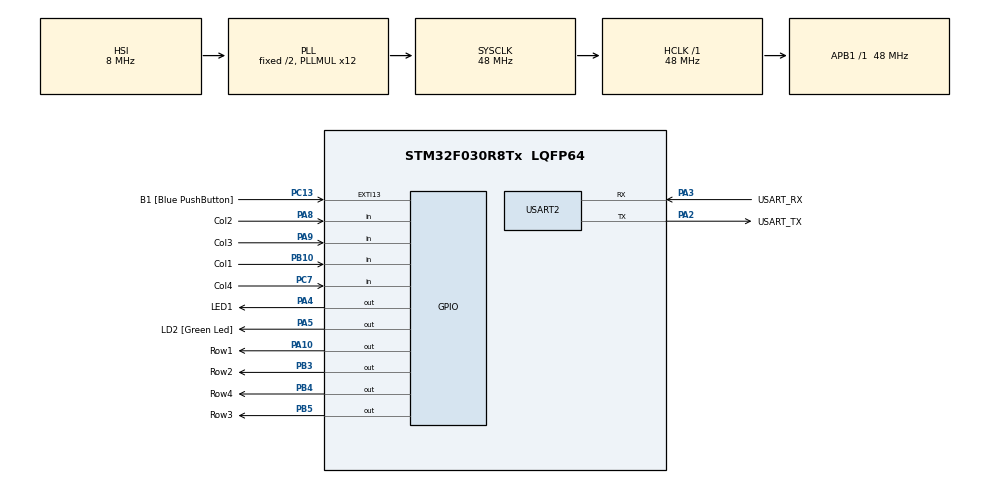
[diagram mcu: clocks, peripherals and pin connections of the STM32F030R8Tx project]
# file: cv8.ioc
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Mcu.Family=STM32F0
Mcu.Name=STM32F030R8Tx
Mcu.Package=LQFP64
NVIC.TIM3_IRQn=true\:0\:0\:false\:false\:true\:true\:true
PA10.GPIO_Label=Row1
PA10.GPIO_ModeDefaultOutputPP=GPIO_MODE_OUTPUT_OD
PA10.Signal=GPIO_Output
PA13.GPIO_Label=TMS
PA13.Mode=Serial_Wire
PA13.Signal=SYS_SWDIO
PA14.GPIO_Label=TCK
PA14.Mode=Serial_Wire
PA14.Signal=SYS_SWCLK
PA2.GPIO_Label=USART_TX
PA2.GPIO_Mode=GPIO_MODE_AF_PP
PA2.GPIO_PuPd=GPIO_NOPULL
PA2.GPIO_Speed=GPIO_SPEED_FREQ_LOW
PA2.Mode=Asynchronous
PA2.Signal=USART2_TX
PA3.GPIO_Label=USART_RX
PA3.GPIO_Mode=GPIO_MODE_AF_PP
PA3.GPIO_PuPd=GPIO_NOPULL
PA3.GPIO_Speed=GPIO_SPEED_FREQ_LOW
PA3.Mode=Asynchronous
PA3.Signal=USART2_RX
PA4.GPIO_Label=LED1
PA4.Signal=GPIO_Output
PA5.GPIO_Label=LD2 [Green Led]
PA5.GPIO_Mode=GPIO_MODE_OUTPUT_PP
PA5.GPIO_PuPd=GPIO_NOPULL
PA5.GPIO_Speed=GPIO_SPEED_FREQ_LOW
PA5.Signal=GPIO_Output
PA8.GPIO_Label=Col2
PA8.GPIO_PuPd=GPIO_PULLUP
PA8.Signal=GPIO_Input
PA9.GPIO_Label=Col3
PA9.GPIO_PuPd=GPIO_PULLUP
PA9.Signal=GPIO_Input
PB10.GPIO_Label=Col1
PB10.GPIO_PuPd=GPIO_PULLUP
PB10.Signal=GPIO_Input
PB3.GPIO_Label=Row2
PB3.GPIO_ModeDefaultOutputPP=GPIO_MODE_OUTPUT_OD
PB3.Signal=GPIO_Output
PB4.GPIO_Label=Row4
PB4.GPIO_ModeDefaultOutputPP=GPIO_MODE_OUTPUT_OD
PB4.Signal=GPIO_Output
PB5.GPIO_Label=Row3
PB5.GPIO_ModeDefaultOutputPP=GPIO_MODE_OUTPUT_OD
PB5.Signal=GPIO_Output
PB8.Signal=I2C1_SCL
PB9.Signal=I2C1_SDA
PC13.GPIO_Label=B1 [Blue PushButton]
PC13.GPIO_ModeDefaultEXTI=GPIO_MODE_IT_FALLING
PC13.Signal=GPXTI13
PC14-OSC32_IN.Mode=LSE-External-Oscillator
PC14-OSC32_IN.Signal=RCC_OSC32_IN
PC15-OSC32_OUT.Mode=LSE-External-Oscillator
PC15-OSC32_OUT.Signal=RCC_OSC32_OUT
PC7.GPIO_Label=Col4
PC7.GPIO_PuPd=GPIO_PULLUP
PC7.Signal=GPIO_Input
PF0-OSC_IN.Mode=HSE-External-Clock-Source
PF0-OSC_IN.Signal=RCC_OSC_IN
PF1-OSC_OUT.Signal=RCC_OSC_OUT
ProjectManager.HeapSize=0x200
ProjectManager.StackSize=0x400
ProjectManager.TargetToolchain=STM32CubeIDE
RCC.AHBFreq_Value=48000000
RCC.APB1Freq_Value=48000000
RCC.APB1TimFreq_Value=48000000
RCC.HCLKFreq_Value=48000000
RCC.PLLMUL=RCC_PLL_MUL12
RCC.SYSCLKFreq_VALUE=48000000
RCC.SYSCLKSource=RCC_SYSCLKSOURCE_PLLCLK
TIM3.AutoReloadPreload=TIM_AUTORELOAD_PRELOAD_ENABLE
TIM3.Period=99
TIM3.Prescaler=8399
USART2.VirtualMode-Asynchronous=VM_ASYNC
VP_TIM3_VS_ClockSourceINT.Mode=Internal
board=NUCLEO-F030R8

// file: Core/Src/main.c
/* USER CODE BEGIN Header */
/**
  ******************************************************************************
  * @file           : main.c
  * @brief          : Main program body
  ******************************************************************************
  * @attention
  *
  * <h2><center>&copy; Copyright (c) 2020 STMicroelectronics.
  * All rights reserved.</center></h2>
  *
  * This software component is licensed by ST under BSD 3-Clause license,
  * the "License"; You may not use this file except in compliance with the
  * License. You may obtain a copy of the License at:
  *                        opensource.org/licenses/BSD-3-Clause
  *
  ******************************************************************************
  */
/* USER CODE END Header */
#include "main.h"

/* USER CODE BEGIN Includes */
#include <stdio.h>
#include <stdlib.h>
#include <string.h>

/* USER CODE END Includes */

TIM_HandleTypeDef htim3;

UART_HandleTypeDef huart2;
DMA_HandleTypeDef hdma_usart2_rx;
/* USER CODE BEGIN PV */
static volatile int8_t key = -1;

/* USER CODE END PV */

void SystemClock_Config(void);
static void MX_GPIO_Init(void);
static void MX_USART2_UART_Init(void);
static void MX_TIM3_Init(void);
/* USER CODE BEGIN PFP */
int _write(int file, char const *buf, int n)
{
 /* stdout redirection to UART2 */
 HAL_UART_Transmit(&huart2, (uint8_t*)(buf), n, HAL_MAX_DELAY);
 return n;
}
/* USER CODE END PFP */

/* USER CODE BEGIN 0 */

void HAL_TIM_PeriodElapsedCallback(TIM_HandleTypeDef *htim)
{
 static int row = 0;
 static const int keyboard[4][4] = {
 { 1, 2, 3, 21 },
 { 4, 5, 6, 22 },
 { 7, 8, 9, 23 },
 { 11, 0, 12, 24 },
 };
 if (key == -1) {
 if (HAL_GPIO_ReadPin(Col1_GPIO_Port, Col1_Pin) == GPIO_PIN_RESET) key = keyboard[row][0];
 if (HAL_GPIO_ReadPin(Col2_GPIO_Port, Col2_Pin) == GPIO_PIN_RESET) key = keyboard[row][1];
 if (HAL_GPIO_ReadPin(Col3_GPIO_Port, Col3_Pin) == GPIO_PIN_RESET) key = keyboard[row][2];
 if (HAL_GPIO_ReadPin(Col4_GPIO_Port, Col4_Pin) == GPIO_PIN_RESET) key = keyboard[row][3];

 }
 HAL_GPIO_WritePin(Row1_GPIO_Port, Row1_Pin, GPIO_PIN_SET);
 HAL_GPIO_WritePin(Row2_GPIO_Port, Row2_Pin, GPIO_PIN_SET);
 HAL_GPIO_WritePin(Row3_GPIO_Port, Row3_Pin, GPIO_PIN_SET);
 HAL_GPIO_WritePin(Row4_GPIO_Port, Row4_Pin, GPIO_PIN_SET);
 switch (row) {
 case 0: row = 1; HAL_GPIO_WritePin(Row2_GPIO_Port, Row2_Pin, GPIO_PIN_RESET); break;
 case 1: row = 2; HAL_GPIO_WritePin(Row3_GPIO_Port, Row3_Pin, GPIO_PIN_RESET); break;
 case 2: row = 3; HAL_GPIO_WritePin(Row4_GPIO_Port, Row4_Pin, GPIO_PIN_RESET); break;
 case 3: row = 0; HAL_GPIO_WritePin(Row1_GPIO_Port, Row1_Pin, GPIO_PIN_RESET); break;

 }
}

/* USER CODE END 0 */

int main(void)
{

  /* MCU Configuration--------------------------------------------------------*/

  /* Reset of all peripherals, Initializes the Flash interface and the Systick. */
  HAL_Init();

  /* Configure the system clock */
  SystemClock_Config();

  /* Initialize all configured peripherals */
  MX_GPIO_Init();
  MX_USART2_UART_Init();
  MX_TIM3_Init();
  /* USER CODE BEGIN 2 */
HAL_TIM_Base_Start_IT(&htim3);
printf("test\n");

const uint8_t code[] = {7,9,3,2,12};
uint8_t pos = 0;
uint32_t timeout ;
uint32_t t_now = HAL_GetTick();

  /* USER CODE END 2 */

  /* Infinite loop */
  /* USER CODE BEGIN WHILE */
  while (1)
  {
	  t_now = HAL_GetTick();
	  if(key!= -1 && key == code[pos])
	  {
		 timeout = t_now;

		  pos++ ;
		  key = -1;
		  if (pos == 5) HAL_GPIO_TogglePin(LD2_GPIO_Port, LD2_Pin);
		  printf("key = %d, pos = %d\n",key, pos);

	  }
	  else
	  {
		  pos = 0;
		  printf("pos = %d\n",pos);

	  }

	  if(pos>0 && pos < 5 && (t_now-timeout) > 3000)
	  {
		  printf("timeout\n");
		  pos = 0;
	  }

    /* USER CODE END WHILE */

  }
}

void SystemClock_Config(void)
{
  RCC_OscInitTypeDef RCC_OscInitStruct = {0};
  RCC_ClkInitTypeDef RCC_ClkInitStruct = {0};

  /** Initializes the RCC Oscillators according to the specified parameters
  * in the RCC_OscInitTypeDef structure.
  */
  RCC_OscInitStruct.OscillatorType = RCC_OSCILLATORTYPE_HSI;
  RCC_OscInitStruct.HSIState = RCC_HSI_ON;
  RCC_OscInitStruct.HSICalibrationValue = RCC_HSICALIBRATION_DEFAULT;
  RCC_OscInitStruct.PLL.PLLState = RCC_PLL_ON;
  RCC_OscInitStruct.PLL.PLLSource = RCC_PLLSOURCE_HSI;
  RCC_OscInitStruct.PLL.PLLMUL = RCC_PLL_MUL12;
  RCC_OscInitStruct.PLL.PREDIV = RCC_PREDIV_DIV1;
  if (HAL_RCC_OscConfig(&RCC_OscInitStruct) != HAL_OK)
  {
    Error_Handler();
  }
  /** Initializes the CPU, AHB and APB buses clocks
  */
  RCC_ClkInitStruct.ClockType = RCC_CLOCKTYPE_HCLK|RCC_CLOCKTYPE_SYSCLK
                              |RCC_CLOCKTYPE_PCLK1;
  RCC_ClkInitStruct.SYSCLKSource = RCC_SYSCLKSOURCE_PLLCLK;
  RCC_ClkInitStruct.AHBCLKDivider = RCC_SYSCLK_DIV1;
  RCC_ClkInitStruct.APB1CLKDivider = RCC_HCLK_DIV1;

  if (HAL_RCC_ClockConfig(&RCC_ClkInitStruct, FLASH_LATENCY_1) != HAL_OK)
  {
    Error_Handler();
  }
}

static void MX_TIM3_Init(void)
{

  TIM_ClockConfigTypeDef sClockSourceConfig = {0};
  TIM_MasterConfigTypeDef sMasterConfig = {0};

  htim3.Instance = TIM3;
  htim3.Init.Prescaler = 8399;
  htim3.Init.CounterMode = TIM_COUNTERMODE_UP;
  htim3.Init.Period = 99;
  htim3.Init.ClockDivision = TIM_CLOCKDIVISION_DIV1;
  htim3.Init.AutoReloadPreload = TIM_AUTORELOAD_PRELOAD_ENABLE;
  if (HAL_TIM_Base_Init(&htim3) != HAL_OK)
  {
    Error_Handler();
  }
  sClockSourceConfig.ClockSource = TIM_CLOCKSOURCE_INTERNAL;
  if (HAL_TIM_ConfigClockSource(&htim3, &sClockSourceConfig) != HAL_OK)
  {
    Error_Handler();
  }
  sMasterConfig.MasterOutputTrigger = TIM_TRGO_RESET;
  sMasterConfig.MasterSlaveMode = TIM_MASTERSLAVEMODE_DISABLE;
  if (HAL_TIMEx_MasterConfigSynchronization(&htim3, &sMasterConfig) != HAL_OK)
  {
    Error_Handler();
  }

}

static void MX_USART2_UART_Init(void)
{

  huart2.Instance = USART2;
  huart2.Init.BaudRate = 38400;
  huart2.Init.WordLength = UART_WORDLENGTH_8B;
  huart2.Init.StopBits = UART_STOPBITS_1;
  huart2.Init.Parity = UART_PARITY_NONE;
  huart2.Init.Mode = UART_MODE_TX_RX;
  huart2.Init.HwFlowCtl = UART_HWCONTROL_NONE;
  huart2.Init.OverSampling = UART_OVERSAMPLING_16;
  huart2.Init.OneBitSampling = UART_ONE_BIT_SAMPLE_DISABLE;
  huart2.AdvancedInit.AdvFeatureInit = UART_ADVFEATURE_NO_INIT;
  if (HAL_UART_Init(&huart2) != HAL_OK)
  {
    Error_Handler();
  }

}

static void MX_GPIO_Init(void)
{
  GPIO_InitTypeDef GPIO_InitStruct = {0};

  /* GPIO Ports Clock Enable */
  __HAL_RCC_GPIOC_CLK_ENABLE();
  __HAL_RCC_GPIOF_CLK_ENABLE();
  __HAL_RCC_GPIOA_CLK_ENABLE();
  __HAL_RCC_GPIOB_CLK_ENABLE();

  /*Configure GPIO pin Output Level */
  HAL_GPIO_WritePin(GPIOA, LED1_Pin|LD2_Pin|Row1_Pin, GPIO_PIN_RESET);

  /*Configure GPIO pin Output Level */
  HAL_GPIO_WritePin(GPIOB, Row2_Pin|Row4_Pin|Row3_Pin, GPIO_PIN_RESET);

  /*Configure GPIO pin : B1_Pin */
  GPIO_InitStruct.Pin = B1_Pin;
  GPIO_InitStruct.Mode = GPIO_MODE_IT_FALLING;
  GPIO_InitStruct.Pull = GPIO_NOPULL;
  HAL_GPIO_Init(B1_GPIO_Port, &GPIO_InitStruct);

  /*Configure GPIO pins : LED1_Pin LD2_Pin */
  GPIO_InitStruct.Pin = LED1_Pin|LD2_Pin;
  GPIO_InitStruct.Mode = GPIO_MODE_OUTPUT_PP;
  GPIO_InitStruct.Pull = GPIO_NOPULL;
  GPIO_InitStruct.Speed = GPIO_SPEED_FREQ_LOW;
  HAL_GPIO_Init(GPIOA, &GPIO_InitStruct);

  /*Configure GPIO pin : Col1_Pin */
  GPIO_InitStruct.Pin = Col1_Pin;
  GPIO_InitStruct.Mode = GPIO_MODE_INPUT;
  GPIO_InitStruct.Pull = GPIO_PULLUP;
  HAL_GPIO_Init(Col1_GPIO_Port, &GPIO_InitStruct);

  /*Configure GPIO pin : Col4_Pin */
  GPIO_InitStruct.Pin = Col4_Pin;
  GPIO_InitStruct.Mode = GPIO_MODE_INPUT;
  GPIO_InitStruct.Pull = GPIO_PULLUP;
  HAL_GPIO_Init(Col4_GPIO_Port, &GPIO_InitStruct);

  /*Configure GPIO pins : Col2_Pin Col3_Pin */
  GPIO_InitStruct.Pin = Col2_Pin|Col3_Pin;
  GPIO_InitStruct.Mode = GPIO_MODE_INPUT;
  GPIO_InitStruct.Pull = GPIO_PULLUP;
  HAL_GPIO_Init(GPIOA, &GPIO_InitStruct);

  /*Configure GPIO pin : Row1_Pin */
  GPIO_InitStruct.Pin = Row1_Pin;
  GPIO_InitStruct.Mode = GPIO_MODE_OUTPUT_OD;
  GPIO_InitStruct.Pull = GPIO_NOPULL;
  GPIO_InitStruct.Speed = GPIO_SPEED_FREQ_LOW;
  HAL_GPIO_Init(Row1_GPIO_Port, &GPIO_InitStruct);

  /*Configure GPIO pins : Row2_Pin Row4_Pin Row3_Pin */
  GPIO_InitStruct.Pin = Row2_Pin|Row4_Pin|Row3_Pin;
  GPIO_InitStruct.Mode = GPIO_MODE_OUTPUT_OD;
  GPIO_InitStruct.Pull = GPIO_NOPULL;
  GPIO_InitStruct.Speed = GPIO_SPEED_FREQ_LOW;
  HAL_GPIO_Init(GPIOB, &GPIO_InitStruct);

  /*Configure GPIO pins : PB8 PB9 */
  GPIO_InitStruct.Pin = GPIO_PIN_8|GPIO_PIN_9;
  GPIO_InitStruct.Mode = GPIO_MODE_AF_OD;
  GPIO_InitStruct.Pull = GPIO_PULLUP;
  GPIO_InitStruct.Speed = GPIO_SPEED_FREQ_HIGH;
  GPIO_InitStruct.Alternate = GPIO_AF1_I2C1;
  HAL_GPIO_Init(GPIOB, &GPIO_InitStruct);

}

void Error_Handler(void)
{
}

/************************ (C) COPYRIGHT STMicroelectronics *****END OF FILE****/
